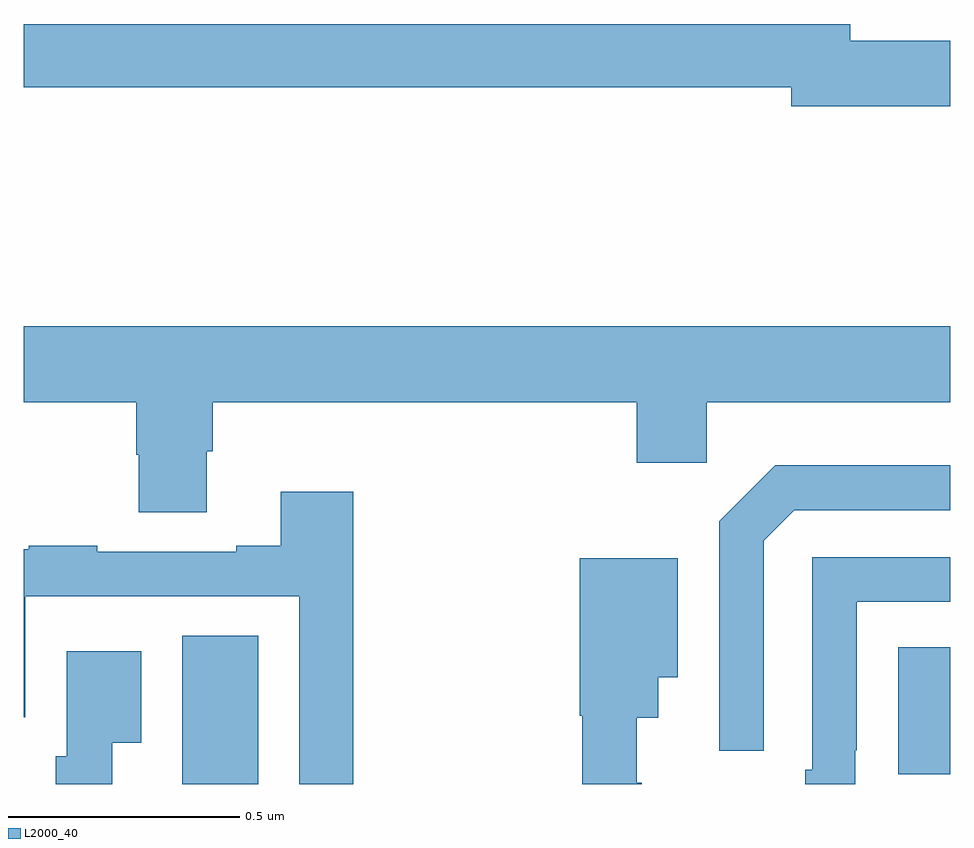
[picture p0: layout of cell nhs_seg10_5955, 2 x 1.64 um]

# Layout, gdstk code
import gdstk
lib = gdstk.Library(unit=1e-6, precision=1e-09)
def R(c, l, rs):  # rectangles x0, y0, x1, y1
    for r in rs: c.add(gdstk.rectangle(r[:2], r[2:], *l))
def P(c, l, *ps):  # polygons
    for p in ps: c.add(gdstk.Polygon(p, *l))
L2000_40 = (2000, 40)

nhs_seg10_5955 = lib.new_cell('nhs_seg10_5955')
R(nhs_seg10_5955, L2000_40, [(185.342,1291.5,185.506,1291.82), (186.887,1291.521,187,1291.795)])
P(nhs_seg10_5955, L2000_40, [(187,1293.104),(186.784,1293.104),(186.784,1293.14),(185,1293.14),(185,1293.004),(186.656,1293.004),(186.656,1292.962),(187,1292.962)],
  [(185.395,1292.218),(185.408,1292.218),(185.408,1292.324),(186.323,1292.324),(186.323,1292.193),(186.474,1292.193),(186.474,1292.324),(187,1292.324),(187,1292.488),(185,1292.488),(185,1292.324),(185.243,1292.324),(185.243,1292.211),(185.248,1292.211),(185.248,1292.086),(185.395,1292.086)],
  [(186.597,1292.025),(186.663,1292.091),(187,1292.091),(187,1292.188),(186.622,1292.188),(186.501,1292.067),(186.501,1291.572),(186.597,1291.572)],
  [(185.711,1292.131),(185.555,1292.131),(185.555,1292.014),(185.459,1292.014),(185.459,1292.001),(185.159,1292.001),(185.159,1292.014),(185.011,1292.014),(185.011,1292.007),(185,1292.007),(185,1291.644),(185.004,1291.644),(185.004,1291.905),(185.595,1291.905),(185.595,1291.5),(185.711,1291.5)],
  [(186.795,1291.573),(186.798,1291.573),(186.798,1291.893),(187,1291.893),(187,1291.989),(186.702,1291.989),(186.702,1291.531),(186.687,1291.531),(186.687,1291.5),(186.795,1291.5)],
  [(186.334,1291.503),(186.323,1291.503),(186.323,1291.643),(186.37,1291.643),(186.37,1291.73),(186.412,1291.73),(186.412,1291.987),(186.2,1291.987),(186.2,1291.647),(186.205,1291.647),(186.205,1291.5),(186.334,1291.5)],
  [(185.191,1291.589),(185.254,1291.589),(185.254,1291.786),(185.093,1291.786),(185.093,1291.56),(185.069,1291.56),(185.069,1291.5),(185.191,1291.5)])

lib.write_gds('nhs_seg10_5955.gds')
